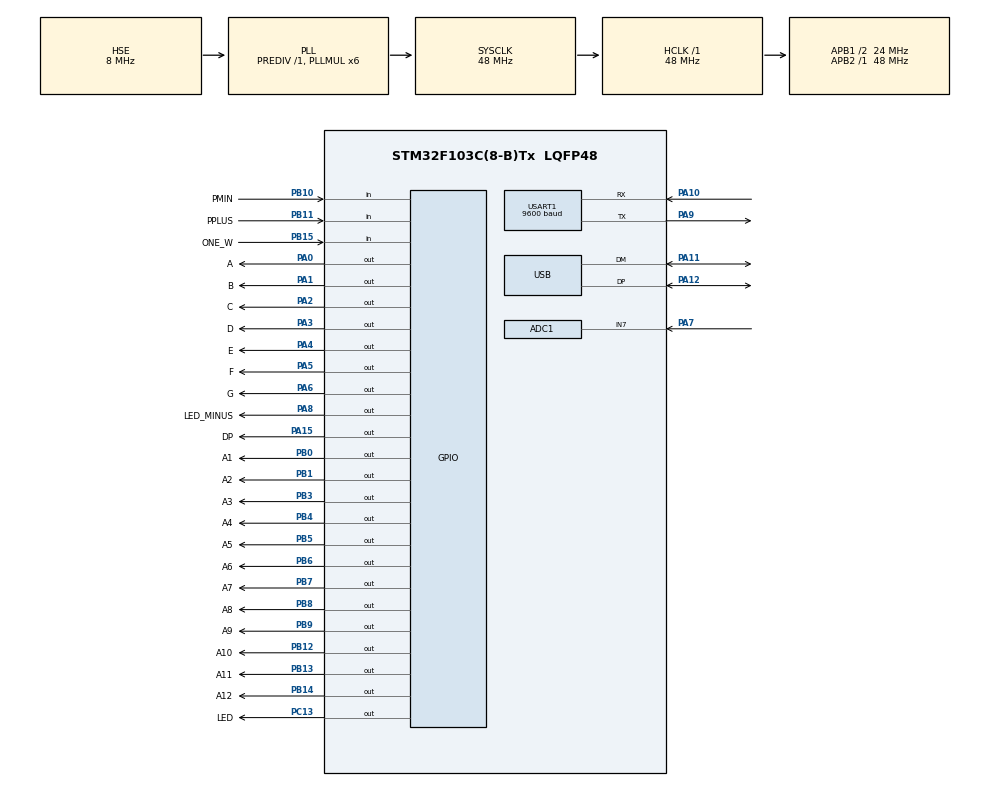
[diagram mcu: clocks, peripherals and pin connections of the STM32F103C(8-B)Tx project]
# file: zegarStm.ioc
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ADC1.Channel-4\#ChannelRegularConversion=ADC_CHANNEL_7
ADC1.ContinuousConvMode=DISABLE
ADC1.InjNumberOfConversion=0
ADC1.NbrOfConversion=1
ADC1.NbrOfConversionFlag=1
ADC1.Rank-4\#ChannelRegularConversion=1
ADC1.SamplingTime-4\#ChannelRegularConversion=ADC_SAMPLETIME_1CYCLE_5
ADC1.master=1
Dma.Request0=USART1_RX
Dma.Request1=USART1_TX
Dma.USART1_RX.0.Direction=DMA_PERIPH_TO_MEMORY
Dma.USART1_RX.0.Instance=DMA1_Channel5
Dma.USART1_RX.0.MemDataAlignment=DMA_MDATAALIGN_BYTE
Dma.USART1_RX.0.MemInc=DMA_MINC_ENABLE
Dma.USART1_RX.0.Mode=DMA_CIRCULAR
Dma.USART1_RX.0.PeriphDataAlignment=DMA_PDATAALIGN_BYTE
Dma.USART1_RX.0.PeriphInc=DMA_PINC_DISABLE
Dma.USART1_RX.0.Priority=DMA_PRIORITY_LOW
Dma.USART1_TX.1.Direction=DMA_MEMORY_TO_PERIPH
Dma.USART1_TX.1.Instance=DMA1_Channel4
Dma.USART1_TX.1.MemDataAlignment=DMA_MDATAALIGN_BYTE
Dma.USART1_TX.1.MemInc=DMA_MINC_ENABLE
Dma.USART1_TX.1.Mode=DMA_NORMAL
Dma.USART1_TX.1.PeriphDataAlignment=DMA_PDATAALIGN_BYTE
Dma.USART1_TX.1.PeriphInc=DMA_PINC_DISABLE
Dma.USART1_TX.1.Priority=DMA_PRIORITY_LOW
FREERTOS.INCLUDE_vTaskDelayUntil=1
FREERTOS.Tasks01=defaultTask,0,128,StartDefaultTask,Default
FREERTOS.configTOTAL_HEAP_SIZE=6144
FREERTOS.configUSE_IDLE_HOOK=1
Mcu.Family=STM32F1
Mcu.Name=STM32F103C(8-B)Tx
Mcu.Package=LQFP48
NVIC.ADC1_2_IRQn=true\:0\:0\:false\:false\:true\:false
NVIC.DMA1_Channel4_IRQn=true\:5\:0\:false\:false\:true\:true
NVIC.DMA1_Channel5_IRQn=true\:5\:0\:false\:false\:true\:true
NVIC.PriorityGroup=NVIC_PRIORITYGROUP_4
NVIC.TIM1_UP_IRQn=true\:0\:0\:false\:false\:true\:false
NVIC.TIM2_IRQn=true\:5\:0\:false\:false\:true\:true
NVIC.TIM3_IRQn=true\:0\:0\:false\:false\:true\:false
NVIC.TIM4_IRQn=true\:5\:0\:false\:false\:true\:true
NVIC.TimeBase=TIM1_UP_IRQn
NVIC.TimeBaseIP=TIM1
NVIC.USART1_IRQn=true\:5\:0\:false\:false\:true\:true
NVIC.USB_LP_CAN1_RX0_IRQn=true\:5\:0\:false\:false\:true\:true
PA0-WKUP.GPIO_Label=A
PA0-WKUP.GPIO_ModeDefaultOutputPP=GPIO_MODE_OUTPUT_PP
PA0-WKUP.GPIO_Speed=GPIO_SPEED_FREQ_HIGH
PA0-WKUP.Signal=GPIO_Output
PA1.GPIO_Label=B
PA1.GPIO_Speed=GPIO_SPEED_FREQ_HIGH
PA1.Signal=GPIO_Output
PA10.Mode=Asynchronous
PA10.Signal=USART1_RX
PA11.Mode=Device
PA11.Signal=USB_DM
PA12.Mode=Device
PA12.Signal=USB_DP
PA13.Mode=Serial_Wire
PA13.Signal=SYS_JTMS-SWDIO
PA14.Mode=Serial_Wire
PA14.Signal=SYS_JTCK-SWCLK
PA15.GPIO_Label=DP
PA15.GPIO_Speed=GPIO_SPEED_FREQ_HIGH
PA15.Signal=GPIO_Output
PA2.GPIO_Label=C
PA2.GPIO_Speed=GPIO_SPEED_FREQ_HIGH
PA2.Signal=GPIO_Output
PA3.GPIO_Label=D
PA3.GPIO_Speed=GPIO_SPEED_FREQ_HIGH
PA3.Signal=GPIO_Output
PA4.GPIO_Label=E
PA4.GPIO_Speed=GPIO_SPEED_FREQ_HIGH
PA4.Signal=GPIO_Output
PA5.GPIO_Label=F
PA5.GPIO_Speed=GPIO_SPEED_FREQ_HIGH
PA5.Signal=GPIO_Output
PA6.GPIO_Label=G
PA6.GPIO_Speed=GPIO_SPEED_FREQ_HIGH
PA6.Signal=GPIO_Output
PA7.Signal=ADCx_IN7
PA8.GPIO_Label=LED_MINUS
PA8.GPIO_Speed=GPIO_SPEED_FREQ_LOW
PA8.Signal=GPIO_Output
PA9.Mode=Asynchronous
PA9.Signal=USART1_TX
PB0.GPIO_Label=A1
PB0.GPIO_Speed=GPIO_SPEED_FREQ_HIGH
PB0.Signal=GPIO_Output
PB1.GPIO_Label=A2
PB1.GPIO_Speed=GPIO_SPEED_FREQ_HIGH
PB1.Signal=GPIO_Output
PB10.GPIO_Label=PMIN
PB10.GPIO_PuPd=GPIO_PULLUP
PB10.Signal=GPIO_Input
PB11.GPIO_Label=PPLUS
PB11.GPIO_PuPd=GPIO_PULLUP
PB11.Signal=GPIO_Input
PB12.GPIO_Label=A10
PB12.GPIO_Speed=GPIO_SPEED_FREQ_HIGH
PB12.Signal=GPIO_Output
PB13.GPIO_Label=A11
PB13.GPIO_Speed=GPIO_SPEED_FREQ_HIGH
PB13.Signal=GPIO_Output
PB14.GPIO_Label=A12
PB14.Signal=GPIO_Output
PB15.GPIO_Label=ONE_W
PB15.Signal=GPIO_Input
PB3.GPIO_Label=A3
PB3.GPIO_Speed=GPIO_SPEED_FREQ_HIGH
PB3.Signal=GPIO_Output
PB4.GPIO_Label=A4
PB4.GPIO_Speed=GPIO_SPEED_FREQ_HIGH
PB4.Signal=GPIO_Output
PB5.GPIO_Label=A5
PB5.GPIO_Speed=GPIO_SPEED_FREQ_HIGH
PB5.Signal=GPIO_Output
PB6.GPIO_Label=A6
PB6.GPIO_Speed=GPIO_SPEED_FREQ_HIGH
PB6.Signal=GPIO_Output
PB7.GPIO_Label=A7
PB7.GPIO_Speed=GPIO_SPEED_FREQ_HIGH
PB7.Signal=GPIO_Output
PB8.GPIO_Label=A8
PB8.GPIO_Speed=GPIO_SPEED_FREQ_HIGH
PB8.Signal=GPIO_Output
PB9.GPIO_Label=A9
PB9.GPIO_Speed=GPIO_SPEED_FREQ_HIGH
PB9.Signal=GPIO_Output
PC13-TAMPER-RTC.GPIO_Label=LED
PC13-TAMPER-RTC.PinState=GPIO_PIN_SET
PC13-TAMPER-RTC.Signal=GPIO_Output
PC14-OSC32_IN.Mode=LSE-External-Oscillator
PC14-OSC32_IN.Signal=RCC_OSC32_IN
PC15-OSC32_OUT.Mode=LSE-External-Oscillator
PC15-OSC32_OUT.Signal=RCC_OSC32_OUT
PD0-OSC_IN.Mode=HSE-External-Oscillator
PD0-OSC_IN.Signal=RCC_OSC_IN
PD1-OSC_OUT.Mode=HSE-External-Oscillator
PD1-OSC_OUT.Signal=RCC_OSC_OUT
ProjectManager.HeapSize=0x200
ProjectManager.StackSize=0x400
ProjectManager.TargetToolchain=SW4STM32
RCC.ADCPresc=RCC_ADCPCLK2_DIV4
RCC.AHBFreq_Value=48000000
RCC.APB1CLKDivider=RCC_HCLK_DIV2
RCC.APB1Freq_Value=24000000
RCC.APB1TimFreq_Value=48000000
RCC.APB2Freq_Value=48000000
RCC.APB2TimFreq_Value=48000000
RCC.HCLKFreq_Value=48000000
RCC.HSIState=RCC_HSI_ON
RCC.PLLMUL=RCC_PLL_MUL6
RCC.PLLSourceVirtual=RCC_PLLSOURCE_HSE
RCC.RTCClockSelection=RCC_RTCCLKSOURCE_LSE
RCC.SYSCLKFreq_VALUE=48000000
RCC.SYSCLKSource=RCC_SYSCLKSOURCE_PLLCLK
RCC.USBFreq_Value=48000000
RCC.VDD_VALUE=3.3
RTC.Hours=12
RTC.OutPut=RTC_OUTPUTSOURCE_NONE
RTC.Year=17
SH.ADCx_IN7.0=ADC1_IN7,IN7
TIM2.Period=490
TIM2.Prescaler=48
TIM3.Period=10000
TIM3.Prescaler=48
TIM3.TIM_MasterOutputTrigger=TIM_TRGO_RESET
TIM3.TIM_MasterSlaveMode=TIM_MASTERSLAVEMODE_DISABLE
TIM4.Period=500
TIM4.Prescaler=48
USART1.BaudRate=9600
USART1.Parity=PARITY_NONE
USB_DEVICE.CLASS_NAME_FS=CDC
USB_DEVICE.USBD_HandleTypeDef=hUsbDeviceFS
USB_DEVICE.VirtualMode=Cdc
USB_DEVICE.VirtualModeFS=Cdc_FS
VP_CRC_VS_CRC.Mode=CRC_Activate
VP_FREERTOS_VS_ENABLE.Mode=Enabled
VP_RTC_No_RTC_Output.Mode=RTC_OUT_NO
VP_RTC_VS_RTC_Activate.Mode=RTC_Enabled
VP_SYS_VS_tim1.Mode=TIM1
VP_TIM2_VS_ClockSourceINT.Mode=Internal
VP_TIM3_VS_ClockSourceINT.Mode=Internal
VP_TIM4_VS_ClockSourceINT.Mode=Internal
VP_USB_DEVICE_VS_USB_DEVICE_CDC_FS.Mode=CDC_FS
board=plytka_f103c8t6_ebay

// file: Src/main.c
/**
  ******************************************************************************
  * File Name          : main.c
  * Description        : Main program body
  ******************************************************************************
  *
  * Copyright (c) 2017 STMicroelectronics International N.V.
  * All rights reserved.
  *
  * Redistribution and use in source and binary forms, with or without
  * modification, are permitted, provided that the following conditions are met:
  *
  * 1. Redistribution of source code must retain the above copyright notice,
  *    this list of conditions and the following disclaimer.
  * 2. Redistributions in binary form must reproduce the above copyright notice,
  *    this list of conditions and the following disclaimer in the documentation
  *    and/or other materials provided with the distribution.
  * 3. Neither the name of STMicroelectronics nor the names of other
  *    contributors to this software may be used to endorse or promote products
  *    derived from this software without specific written permission.
  * 4. This software, including modifications and/or derivative works of this
  *    software, must execute solely and exclusively on microcontroller or
  *    microprocessor devices manufactured by or for STMicroelectronics.
  * 5. Redistribution and use of this software other than as permitted under
  *    this license is void and will automatically terminate your rights under
  *    this license.
  *
  * THIS SOFTWARE IS PROVIDED BY STMICROELECTRONICS AND CONTRIBUTORS "AS IS"
  * AND ANY EXPRESS, IMPLIED OR STATUTORY WARRANTIES, INCLUDING, BUT NOT
  * LIMITED TO, THE IMPLIED WARRANTIES OF MERCHANTABILITY, FITNESS FOR A
  * PARTICULAR PURPOSE AND NON-INFRINGEMENT OF THIRD PARTY INTELLECTUAL PROPERTY
  * RIGHTS ARE DISCLAIMED TO THE FULLEST EXTENT PERMITTED BY LAW. IN NO EVENT
  * SHALL STMICROELECTRONICS OR CONTRIBUTORS BE LIABLE FOR ANY DIRECT, INDIRECT,
  * INCIDENTAL, SPECIAL, EXEMPLARY, OR CONSEQUENTIAL DAMAGES (INCLUDING, BUT NOT
  * LIMITED TO, PROCUREMENT OF SUBSTITUTE GOODS OR SERVICES; LOSS OF USE, DATA,
  * OR PROFITS; OR BUSINESS INTERRUPTION) HOWEVER CAUSED AND ON ANY THEORY OF
  * LIABILITY, WHETHER IN CONTRACT, STRICT LIABILITY, OR TORT (INCLUDING
  * NEGLIGENCE OR OTHERWISE) ARISING IN ANY WAY OUT OF THE USE OF THIS SOFTWARE,
  * EVEN IF ADVISED OF THE POSSIBILITY OF SUCH DAMAGE.
  *
  ******************************************************************************
  */
#include "main.h"
#include "stm32f1xx_hal.h"
#include "cmsis_os.h"
#include "adc.h"
#include "crc.h"
#include "dma.h"
#include "rtc.h"
#include "tim.h"
#include "usart.h"
#include "usb_device.h"
#include "gpio.h"

/* USER CODE BEGIN Includes */

#include "FreeRTOS.h"
#include "wyswietlacz7Seg.h"

/* USER CODE END Includes */

/* USER CODE BEGIN PV */

wyswietlacz7Seg  wyswietlaCyfrySet;
volatile uint8_t wyswietlaczIdx;

volatile uint32_t flagaDelay;
volatile uint32_t sciemniacz;

/* USER CODE END PV */

void SystemClock_Config(void);
void Error_Handler(void);
void MX_FREERTOS_Init(void);

int main(void)
{

  /* MCU Configuration----------------------------------------------------------*/

  /* Reset of all peripherals, Initializes the Flash interface and the Systick. */
  HAL_Init();

  /* Configure the system clock */
  SystemClock_Config();

  /* Initialize all configured peripherals */
  MX_GPIO_Init();
  MX_DMA_Init();
  MX_RTC_Init();
  MX_USART1_UART_Init();
  MX_TIM2_Init();
  MX_TIM3_Init();
  MX_TIM4_Init();
  MX_ADC1_Init();
  MX_CRC_Init();

  /* USER CODE BEGIN 2 */
  HAL_TIM_Base_Start_IT(&htim2);
  HAL_TIM_Base_Start_IT(&htim3);
  HAL_TIM_Base_Start_IT(&htim4);
  /* USER CODE END 2 */

  /* Call init function for freertos objects (in freertos.c) */
  MX_FREERTOS_Init();

  /* Start scheduler */
  osKernelStart();

  /* We should never get here as control is now taken by the scheduler */

  /* Infinite loop */
  while (1)
  {

  }

}

/** System Clock Configuration
*/
void SystemClock_Config(void)
{

  RCC_OscInitTypeDef RCC_OscInitStruct;
  RCC_ClkInitTypeDef RCC_ClkInitStruct;
  RCC_PeriphCLKInitTypeDef PeriphClkInit;

    /**Initializes the CPU, AHB and APB busses clocks
    */
  RCC_OscInitStruct.OscillatorType = RCC_OSCILLATORTYPE_HSE|RCC_OSCILLATORTYPE_LSE;
  RCC_OscInitStruct.HSEState = RCC_HSE_ON;
  RCC_OscInitStruct.HSEPredivValue = RCC_HSE_PREDIV_DIV1;
  RCC_OscInitStruct.LSEState = RCC_LSE_ON;
  RCC_OscInitStruct.HSIState = RCC_HSI_ON;
  RCC_OscInitStruct.PLL.PLLState = RCC_PLL_ON;
  RCC_OscInitStruct.PLL.PLLSource = RCC_PLLSOURCE_HSE;
  RCC_OscInitStruct.PLL.PLLMUL = RCC_PLL_MUL6;
  if (HAL_RCC_OscConfig(&RCC_OscInitStruct) != HAL_OK)
  {
    Error_Handler();
  }

    /**Initializes the CPU, AHB and APB busses clocks
    */
  RCC_ClkInitStruct.ClockType = RCC_CLOCKTYPE_HCLK|RCC_CLOCKTYPE_SYSCLK
                              |RCC_CLOCKTYPE_PCLK1|RCC_CLOCKTYPE_PCLK2;
  RCC_ClkInitStruct.SYSCLKSource = RCC_SYSCLKSOURCE_PLLCLK;
  RCC_ClkInitStruct.AHBCLKDivider = RCC_SYSCLK_DIV1;
  RCC_ClkInitStruct.APB1CLKDivider = RCC_HCLK_DIV2;
  RCC_ClkInitStruct.APB2CLKDivider = RCC_HCLK_DIV1;

  if (HAL_RCC_ClockConfig(&RCC_ClkInitStruct, FLASH_LATENCY_1) != HAL_OK)
  {
    Error_Handler();
  }

  PeriphClkInit.PeriphClockSelection = RCC_PERIPHCLK_RTC|RCC_PERIPHCLK_ADC
                              |RCC_PERIPHCLK_USB;
  PeriphClkInit.RTCClockSelection = RCC_RTCCLKSOURCE_LSE;
  PeriphClkInit.AdcClockSelection = RCC_ADCPCLK2_DIV4;
  PeriphClkInit.UsbClockSelection = RCC_USBCLKSOURCE_PLL;
  if (HAL_RCCEx_PeriphCLKConfig(&PeriphClkInit) != HAL_OK)
  {
    Error_Handler();
  }

    /**Configure the Systick interrupt time
    */
  HAL_SYSTICK_Config(HAL_RCC_GetHCLKFreq()/1000);

    /**Configure the Systick
    */
  HAL_SYSTICK_CLKSourceConfig(SYSTICK_CLKSOURCE_HCLK);

  /* SysTick_IRQn interrupt configuration */
  HAL_NVIC_SetPriority(SysTick_IRQn, 15, 0);
}

void HAL_TIM_PeriodElapsedCallback(TIM_HandleTypeDef *htim)
{
  if (htim->Instance == TIM1) {
    HAL_IncTick();
  }
/* USER CODE BEGIN Callback 1 */
  if (htim->Instance == TIM3) {
	  flagaKoncaRxt = 1;
      if (flagaDelay >0) {
    	  --flagaDelay;
      }
  }

  if (htim->Instance == TIM4) {
	  __HAL_TIM_SET_COUNTER(&htim2, 0);
	   uint32_t sciemTmp;

	   if(wyswietlaczIdx <5 ){
		   sciemTmp = sciemniacz* 4;
	   }else{
		   sciemTmp = 0;
		   if(sciemniacz>50) sciemTmp = 80;
	   }

	   wyswietlaczIdx = wyswietl7Seg( &wyswietlaCyfrySet);

	   __HAL_TIM_SET_COUNTER(&htim2, sciemTmp);
	   __HAL_TIM_SET_COUNTER(&htim4, 0);
  }

  if (htim->Instance == TIM2) {
	  HAL_GPIO_WritePin(A1_GPIO_Port, maskaAnod, GPIO_PIN_RESET);
	  HAL_GPIO_WritePin(A_GPIO_Port, maskaSeg, GPIO_PIN_RESET);
  }

/* USER CODE END Callback 1 */
}

void Error_Handler(void)
{
  /* USER CODE BEGIN Error_Handler */
  /* User can add his own implementation to report the HAL error return state */
  while(1)
  {
	  break;
  }
  /* USER CODE END Error_Handler */
}

/************************ (C) COPYRIGHT STMicroelectronics *****END OF FILE****/

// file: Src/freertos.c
/**
  ******************************************************************************
  * File Name          : freertos.c
  * Description        : Code for freertos applications
  ******************************************************************************
  *
  * Copyright (c) 2017 STMicroelectronics International N.V.
  * All rights reserved.
  *
  * Redistribution and use in source and binary forms, with or without
  * modification, are permitted, provided that the following conditions are met:
  *
  * 1. Redistribution of source code must retain the above copyright notice,
  *    this list of conditions and the following disclaimer.
  * 2. Redistributions in binary form must reproduce the above copyright notice,
  *    this list of conditions and the following disclaimer in the documentation
  *    and/or other materials provided with the distribution.
  * 3. Neither the name of STMicroelectronics nor the names of other
  *    contributors to this software may be used to endorse or promote products
  *    derived from this software without specific written permission.
  * 4. This software, including modifications and/or derivative works of this
  *    software, must execute solely and exclusively on microcontroller or
  *    microprocessor devices manufactured by or for STMicroelectronics.
  * 5. Redistribution and use of this software other than as permitted under
  *    this license is void and will automatically terminate your rights under
  *    this license.
  *
  * THIS SOFTWARE IS PROVIDED BY STMICROELECTRONICS AND CONTRIBUTORS "AS IS"
  * AND ANY EXPRESS, IMPLIED OR STATUTORY WARRANTIES, INCLUDING, BUT NOT
  * LIMITED TO, THE IMPLIED WARRANTIES OF MERCHANTABILITY, FITNESS FOR A
  * PARTICULAR PURPOSE AND NON-INFRINGEMENT OF THIRD PARTY INTELLECTUAL PROPERTY
  * RIGHTS ARE DISCLAIMED TO THE FULLEST EXTENT PERMITTED BY LAW. IN NO EVENT
  * SHALL STMICROELECTRONICS OR CONTRIBUTORS BE LIABLE FOR ANY DIRECT, INDIRECT,
  * INCIDENTAL, SPECIAL, EXEMPLARY, OR CONSEQUENTIAL DAMAGES (INCLUDING, BUT NOT
  * LIMITED TO, PROCUREMENT OF SUBSTITUTE GOODS OR SERVICES; LOSS OF USE, DATA,
  * OR PROFITS; OR BUSINESS INTERRUPTION) HOWEVER CAUSED AND ON ANY THEORY OF
  * LIABILITY, WHETHER IN CONTRACT, STRICT LIABILITY, OR TORT (INCLUDING
  * NEGLIGENCE OR OTHERWISE) ARISING IN ANY WAY OUT OF THE USE OF THIS SOFTWARE,
  * EVEN IF ADVISED OF THE POSSIBILITY OF SUCH DAMAGE.
  *
  ******************************************************************************
  */

#include "FreeRTOS.h"
#include "task.h"
#include "cmsis_os.h"

/* USER CODE BEGIN Includes */

#include "gpio.h"
#include "usb_device.h"
#include "usart.h"
#include "string.h"
#include "tim.h"
#include "rtc.h"
#include <string.h>
#include "oneWire.h"
#include "adc.h"
#include "wyswietlacz7Seg.h"
#include "eeprom.h"
#include "crc.h"

/* USER CODE END Includes */

osThreadId defaultTaskHandle;

/* USER CODE BEGIN Variables */

uint16_t VirtAddVarTab[NB_OF_VAR] = {0x5555, 0x6666, 0x7777};
uint16_t eepromVarDataTab[NB_OF_VAR] = {0, 0, 0};
uint16_t eeIloscOdpalen;

osThreadId blueTaskHandle;
osThreadId co1sekundeTaskHandle;
osSemaphoreId blueBinarySemHandle;

//wyswietlacz

uint32_t crcbuff[1];
extern wyswietlacz7Seg wyswietlaCyfrySet;

volatile uint8_t cyfra_1, cyfra_2, cyfra_3, cyfra_4, cyfra_5, cyfra_6, cyfra_7, cyfra_8, cyfra_9, cyfra_10, cyfra_11, cyfra_12;
volatile uint8_t kropka_1, kropka_2, kropka_3, kropka_4, kropka_5, kropka_6, kropka_7, kropka_8, kropka_9, kropka_10, kropka_11, kropka_12;

uint8_t rtcTimer1Sec, czujniki_cnt;

volatile uint32_t ADCread, ADCpoziom[3]={900,1500,2300};

uint8_t temp1, temp2, dsBuff[9], temperaturaDs[3];
uint16_t DS_tmp;

osThreadId taskLed7SegHandle;

RTC_TimeTypeDef getTime;
RTC_DateTypeDef getDate;

RTC_TimeTypeDef setTime;
RTC_DateTypeDef setDate;

uint8_t blueRxFrame[256], blueTxFrame[256], Rx_data[256], Rx_indx;
volatile uint8_t txDone = 0;
 uint8_t sekundy, minuty, godziny;

uint32_t sciemniacz = 0;  //80noc 50 srednio 0 reszta

/* USER CODE END Variables */

void StartDefaultTask(void const * argument);

extern void MX_USB_DEVICE_Init(void);
void MX_FREERTOS_Init(void); /* (MISRA C 2004 rule 8.1) */

/* USER CODE BEGIN FunctionPrototypes */

void taskLed7Seg(void const * argument);
void taskBlue(void const * argument);
void co1SekundeTask(void const * argument);

uint8_t rtcSetTime(RTC_HandleTypeDef *hrtc, RTC_TimeTypeDef* time);
uint8_t rtcGetTime(RTC_HandleTypeDef *hrtc, RTC_TimeTypeDef* time);

void displayPrzeliczCzas(void);
void przyciskiRtc(void);

void eepromStart(void);
void eepromWrite(uint16_t adr, uint16_t value);
void eepromRead(uint16_t adr, uint16_t* value);

/* USER CODE END FunctionPrototypes */

/* Hook prototypes */
void vApplicationIdleHook(void);

/* USER CODE BEGIN 2 */
void vApplicationIdleHook( void ){

	if(blueRxFrame[0] == 0){
		flagaKoncaRxt = 0;
		Rx_indx = 0;
		__HAL_TIM_SET_COUNTER(&htim3, 0); //reset timera 1,5T
	}else if (flagaKoncaRxt == 1){
		flagaKoncaRxt = 0;
		osSemaphoreRelease(blueBinarySemHandle);
	}

}
/* USER CODE END 2 */

/* Init FreeRTOS */

void MX_FREERTOS_Init(void) {
  /* USER CODE BEGIN Init */

	eepromStart();
	HAL_UART_Receive_DMA(&huart1, Rx_data, 1);
  /* USER CODE END Init */

  /* USER CODE BEGIN RTOS_SEMAPHORES */

	  osSemaphoreDef(blueBinarySem);
	  blueBinarySemHandle = osSemaphoreCreate(osSemaphore(blueBinarySem), 1);

  /* USER CODE END RTOS_SEMAPHORES */

  /* Create the thread(s) */
  /* definition and creation of defaultTask */
  osThreadDef(defaultTask, StartDefaultTask, osPriorityNormal, 0, 128);
  defaultTaskHandle = osThreadCreate(osThread(defaultTask), NULL);

  /* USER CODE BEGIN RTOS_THREADS */
  osThreadDef(TaskLed7Seg, taskLed7Seg, osPriorityNormal, 0, 128);
  taskLed7SegHandle = osThreadCreate(osThread(TaskLed7Seg), NULL);

  osThreadDef(Taskblue, taskBlue, osPriorityNormal, 0, 256);
  blueTaskHandle = osThreadCreate(osThread(Taskblue), NULL);

  osThreadDef(TaskCo1Sekunde, co1SekundeTask, osPriorityNormal, 0, 128);
  co1sekundeTaskHandle = osThreadCreate(osThread(TaskCo1Sekunde), NULL);

  /* USER CODE END RTOS_THREADS */

}

/* StartDefaultTask function */
void StartDefaultTask(void const * argument)
{
  /* init code for USB_DEVICE */
  MX_USB_DEVICE_Init();

  /* USER CODE BEGIN StartDefaultTask */
  for(;;)  {
	  przyciskiRtc();
  }
  /* USER CODE END StartDefaultTask */
}

/* USER CODE BEGIN Application */
void co1SekundeTask(void const * argument){
	uint32_t PreviousWakeTime = osKernelSysTick();

	for(;;){
		HAL_ADC_Start_IT(&hadc1); //ADC

		kropka_4^=1;

		if(rtcTimer1Sec) --rtcTimer1Sec;

		osDelayUntil(&PreviousWakeTime, 1000);
	}
}

void taskLed7Seg(void const * argument){
	uint32_t PreviousWakeTime = osKernelSysTick();

	uint32_t  konewrt=0, DSerror=0;
	uint8_t  temperaturaLast=0, licznikErr=0, odczyt = 0;
	uint16_t tempSrednia = 0, tempsredniaTab[5] = {0,0,0,0,0}, indeksSredni=0;

	for(;;){

		//**************************************************************************************** CZAS GET
		rtcGetTime(&hrtc, & getTime);
		if (HAL_RTC_GetDate(&hrtc, & getDate, RTC_FORMAT_BIN) != HAL_OK)
		  {
		    Error_Handler();
		  }
		godziny = getTime.Hours;
		minuty = getTime.Minutes;
		sekundy = getTime.Seconds;
		//**************************************************************************************** END

		if( 0 == (sekundy%3) ) {
			czujniki_cnt = search_sensors();
		}
		if( 1 == (sekundy%3) ){
			DS18X20_start_meas( DS18X20_POWER_EXTERN, NULL );
		}
		if( 2 == (sekundy%3) ) {
			if( DS18X20_OK == DS18X20_read_meas(gSensorIDs[0], &temperaturaDs[0], &temperaturaDs[1], &temperaturaDs[2] )){
				odczyt = 1;
			}
		}

//		temperaturaDs[0] = 1;
//		temperaturaDs[1] = 52;
//		temperaturaDs[2] = 1;

		cyfra_5 = sekundy/10;
		cyfra_6 = sekundy%10;
		kropka_6 = 1;

		cyfra_7 = getDate.Year / 10;
		cyfra_8 = getDate.Year % 10;

		cyfra_7 = (DSerror%100) /10;
		cyfra_8 = (DSerror%100) % 10;

		cyfra_7 = (eeIloscOdpalen % 100) / 10;
		cyfra_8 = (eeIloscOdpalen % 100) % 10;

//		if(eeIloscOdpalen > 10){
//			eeIloscOdpalen = 0;
//			eepromWrite(VirtAddVarTab[0], eeIloscOdpalen);
//		}

		if (  (( temperaturaDs[1] > temperaturaLast && (temperaturaDs[1] - temperaturaLast) > 1) || ( temperaturaDs[1] > temperaturaLast && (temperaturaLast - temperaturaDs[1]) > 1) ) && (licznikErr < 5) && odczyt == 1 && konewrt ) {
			odczyt = 0;
			++licznikErr;
			kropka_12 = 1;
			++DSerror;

		} else if (odczyt == 1) {
			konewrt = 1;
			odczyt = 0;
			licznikErr = 0;

			kropka_9 = 0;
			kropka_10 = 0;
			kropka_11 = 0;
			kropka_12 = 0;
			temperaturaLast = temperaturaDs[1];

			if(indeksSredni > 4)indeksSredni = 0;
			tempsredniaTab[indeksSredni++] = temperaturaDs[1] * 10 + temperaturaDs[2];

			tempSrednia = 0;
			uint8_t ii;
			for(ii = 0; ii < 5; ++ii){
				tempSrednia += tempsredniaTab[ii];
			}
			tempSrednia/=5;

			if ((temperaturaDs[0]) && (tempSrednia  != 0)) { //minus
				cyfra_9 = MINUS;
				HAL_GPIO_WritePin(LED_MINUS_GPIO_Port, LED_MINUS_Pin,
						GPIO_PIN_SET);

				//bez znaku stopni
				if (tempSrednia > 99) {
					cyfra_10 = tempSrednia / 100;
					cyfra_11 = (tempSrednia / 10) % 10;
					kropka_11 = 1;
					cyfra_12 = tempSrednia % 10;
				} else {
					cyfra_10 = tempSrednia / 10;
					kropka_10 = 1;
					cyfra_11 = tempSrednia % 10;
					cyfra_12 = 12;
				}
				//PLUS
			} else {
				HAL_GPIO_WritePin(LED_MINUS_GPIO_Port, LED_MINUS_Pin,
						GPIO_PIN_RESET);
				cyfra_9 = tempSrednia / 100;
				if (cyfra_9 == 0) {
					cyfra_9 = 10;
					cyfra_10 = tempSrednia / 10;
				} else {
					cyfra_10 = (tempSrednia / 10) % 10;
				}
				kropka_10 = 1;
				cyfra_11 = tempSrednia % 10;
				cyfra_12 = 12;
			}
		}

		displayPrzeliczCzas();
		osDelayUntil(&PreviousWakeTime, 1000);
	}
}

void taskBlue(void const * argument){

	uint8_t buffTmp[256], lenth=0;
	uint8_t tmp2[10];
	uint8_t tmpBuff[10];
	  for(;;) {

		  osSemaphoreWait(blueBinarySemHandle, osWaitForever);

		  Rx_indx = 0;
		  uint8_t i = 0;
		  for ( i = 0;  i < 255; ++ i) {
			  buffTmp[i] = blueRxFrame[i];
			  blueRxFrame[i] = 0;
		  }
		  for ( i = 0;  i < 255; ++ i) {
			  blueTxFrame[i] = 0;
		  }

		  if( (buffTmp[0]=='a') && (buffTmp[1]=='t') && (buffTmp[2]=='+')   ){
			  //komenda at+
			  //odczyt t
			  if( (buffTmp[3]=='t') && (buffTmp[4]!='=')  ){

				  if(txDone == 0){
					  strcpy( (char*) blueTxFrame, "Czas w zegarze ISO 8601: " );

					  if(getDate.Year < 10){
						  strcat((char*) blueTxFrame, "200" );
					  }else{
						  strcat( (char*) blueTxFrame, "20" );
					  }
					  itoa(getDate.Year , (char*) tmp2,10);
					  strcat( (char*) blueTxFrame, (char*) tmp2 );

					  if(getDate.Month < 10){
						  strcat( (char*) blueTxFrame, "-0" );
					  }else{
						  strcat((char*) blueTxFrame, "-" );
					  }
					  itoa(getDate.Month , (char*) tmp2,10);
					  strcat( (char*) blueTxFrame, (char*) tmp2 );

					  if(getDate.Date < 10){
						  strcat( (char*) blueTxFrame, "-0" );
					  }else{
						  strcat( (char*) blueTxFrame, "-" );
					  }
					  itoa(getDate.Date , (char*)tmp2,10);
					  strcat( (char*) blueTxFrame, (char*) tmp2 );

					  if(getTime.Hours < 10){
						  strcat( (char*) blueTxFrame, "T0" );
					  }else{
						  strcat( (char*) blueTxFrame, "T" );
					  }
					  itoa(godziny, (char*) tmp2,10);
					  strcat((char*)  blueTxFrame, (char*) tmp2 );

					  if(getTime.Minutes < 10){
						  strcat( (char*) blueTxFrame, ":0" );
					  }else{
						  strcat( (char*) blueTxFrame, ":" );
					  }
					  itoa(minuty, (char*) tmp2,10);
					  strcat( (char*) blueTxFrame, (char*) tmp2 );

					  if(getTime.Seconds < 10){
						  strcat( (char*) blueTxFrame, ":0" );
					  }else{
						  strcat( (char*) blueTxFrame, ":" );
					  }
					  itoa(sekundy, (char*) tmp2,10);
					  strcat( (char*) blueTxFrame, (char*) tmp2 );

					  strcat( (char*)blueTxFrame, "+01:00\n" );

					  lenth = strlen( (char*) blueTxFrame) ;
					  if (lenth >0) {
						  txDone = 1;
						  HAL_UART_Transmit_DMA(&huart1, blueTxFrame , lenth);
					  }
				  }
			  }

			  if( (buffTmp[3]=='t') && (buffTmp[4]== '=')  ){

				  if( (buffTmp[7]==':') && (buffTmp[10]== ':') ){

				  tmpBuff[0] = buffTmp[5];
				  tmpBuff[1] = buffTmp[6];
				  setTime.Hours =  atoi( (char*) tmpBuff);

				  tmpBuff[0] = buffTmp[8];
				  tmpBuff[1] = buffTmp[9];
				  setTime.Minutes =  atoi( (char*) tmpBuff);

				  tmpBuff[0] = buffTmp[11];
				  tmpBuff[1] = buffTmp[12];
				  setTime.Seconds =  atoi( (char*) tmpBuff);

				  if (HAL_RTC_SetTime(&hrtc, &setTime, RTC_FORMAT_BIN) != HAL_OK)
				  {
				    Error_Handler();
				  }

				  txDone = 1;
				  uint8_t error[] = "OK\n";
				  HAL_UART_Transmit_DMA(&huart1, error , strlen((char*) error) );

				  }else{
					  if(txDone == 0){
						  txDone = 1;
						  uint8_t error[] = "Podaj poprawne dane np. \"at+t=22:01:55\"\n";
						  HAL_UART_Transmit_DMA(&huart1, error , strlen((char*) error) );
					  }
				  }
			  }
			  if( (buffTmp[3]=='d') && (buffTmp[4]== '=')  ){

				  if( (buffTmp[9]=='-') && (buffTmp[12]== '-') ){

				  tmpBuff[0] = buffTmp[7];
				  tmpBuff[1] = buffTmp[8];
				  setDate.Year =  atoi( (char*) tmpBuff);

				  tmpBuff[0] = buffTmp[10];
				  tmpBuff[1] = buffTmp[11];
				  setDate.Month =  atoi( (char*) tmpBuff);

				  tmpBuff[0] = buffTmp[13];
				  tmpBuff[1] = buffTmp[14];
				  setDate.Date =  atoi( (char*) tmpBuff);

				  if (HAL_RTC_SetDate(&hrtc, &setDate, RTC_FORMAT_BIN) != HAL_OK)
				  {
				    Error_Handler();
				  }

				  txDone = 1;
				  uint8_t error[] = "OK\n";
				  HAL_UART_Transmit_DMA(&huart1, error , strlen((char*) error) );

				  }else{

					  if(txDone == 0){
						  txDone = 1;
						  uint8_t error[] = "Podaj poprawne dane np. \"at+d=2016-12-31\"\n";
						  HAL_UART_Transmit_DMA(&huart1, error , strlen((char*) error) );
					  }

				  }
			  }

			  if( (buffTmp[3]=='s') && (buffTmp[4]== '=')  ){
				tmpBuff[0] = buffTmp[5];
				tmpBuff[1] = buffTmp[6];
				sciemniacz = atoi((char*) tmpBuff);

				txDone = 1;
				uint8_t error[] = "OK\n";
				HAL_UART_Transmit_DMA(&huart1, error , strlen((char*) error) );
			  }

			  if( (buffTmp[3]=='a') && (buffTmp[4]!= '=')  ){
				if (txDone == 0) {
					strcpy( (char*) blueTxFrame, "Odczyt ADC = ");
					itoa(ADCread, (char*) tmp2, 10);
					strcat( (char*) blueTxFrame, (char*) tmp2);
					strcat((char*) blueTxFrame, "\n");
					lenth = strlen((char*) blueTxFrame);
					if (lenth > 0) {
						txDone = 1;
						HAL_UART_Transmit_DMA(&huart1, blueTxFrame, lenth);
					}
				}
			  }

		  }else{
			  if(txDone == 0){
				  txDone = 1;
				  uint8_t error[] = "Podaj poprawne dane np. \"at+t\",\"at+t=22:01:55\", \"at+d=2016-12-30\" \n";
				  HAL_UART_Transmit_DMA(&huart1, error , strlen((char*) error) );
			  }
		  }
	  }
}

void HAL_ADC_ConvCpltCallback(ADC_HandleTypeDef* hadc){

	static uint32_t ADCsrednieTab[5], ADCsrednie;
	static uint8_t i, stan;
	uint8_t tmp2[10], lenth;

	if (hadc->Instance == ADC1) {

		crcWynik = 0;
		crcbuff[0] = 1;
		crcbuff[0] = __REV(  crcbuff[0]);
		uint32_t lenB = 1;
		crcWynik = HAL_CRC_Calculate(&hcrc, (uint32_t *) crcbuff, lenB);
		crcWynik =( __REV( crcWynik) )^ 0xFFFFFFFF;

		ADCread = HAL_ADC_GetValue(hadc);
		HAL_ADC_Stop_IT(hadc);

		if(i>4)i=0;
		ADCsrednieTab[i++] = ADCread;
		uint8_t j;
		ADCsrednie = 0;
		for (j = 0; j < 5; ++j) {
			ADCsrednie+= ADCsrednieTab[j];
		}
		ADCsrednie/=5;

		switch (stan) {
			case 0: //max
				sciemniacz = 0;

				if (ADCsrednie < ADCpoziom[2]) {
					stan = 1;
				}

				break;
			case 1: //srednio
				sciemniacz = 30;

				if (ADCsrednie < ADCpoziom[1]) {
					stan = 2;
				}else if (ADCsrednie > ADCpoziom[2] + 400)
					stan = 0;
				break;
			case 2: //ciemno
				sciemniacz = 50;

				if (ADCsrednie < ADCpoziom[0]) {
					stan = 3;
				}else if (ADCsrednie > ADCpoziom[1] + 400)
					stan = 1;
				break;
			case 3: //nic
				sciemniacz = 80;
				if (ADCsrednie > ADCpoziom[0] + 400)
					stan = 2;
				break;

			default:
				stan = 0;
				break;
		}

		strcpy( (char*) blueTxFrame, "Odczyt ADC = ");
		itoa(  ADCread, (char*) tmp2, 10);
		strcat( (char*) blueTxFrame, (char*) tmp2);
		strcat( (char*) blueTxFrame, " ADC srednie = ");
		itoa(ADCsrednie, (char*) tmp2, 10);
		strcat((char*) blueTxFrame, (char*) tmp2);
		strcat((char*) blueTxFrame, " sciemniacz = ");
		itoa(sciemniacz, (char*) tmp2, 10);
		strcat((char*) blueTxFrame, (char*) tmp2);
		strcat((char*) blueTxFrame, " PowerUp  = ");
		itoa(eeIloscOdpalen, (char*) tmp2, 10);
		strcat((char*) blueTxFrame, (char*) tmp2);
		strcat((char*) blueTxFrame, "\n");

		lenth = strlen((char*) blueTxFrame);
		if (lenth > 0) {
			txDone = 1;
			HAL_UART_Transmit_DMA(&huart1, blueTxFrame, lenth);
		}
	}
}

void HAL_UART_RxCpltCallback(UART_HandleTypeDef *huart)
{

	if (huart->Instance == USART1) {
		txDone = 0;

		__HAL_TIM_SET_COUNTER(&htim3, 0); //reset timera 3
		HAL_UART_DMAPause(huart);
		__HAL_UART_FLUSH_DRREGISTER(huart);

		blueRxFrame[Rx_indx++] = Rx_data[0];

		if ( Rx_indx > 255 ){
			Rx_indx = 0;
		}

		HAL_UART_DMAResume(huart);
	}
}

void HAL_UART_TxCpltCallback(UART_HandleTypeDef *huart)
{
	txDone = 0;
}

void HAL_UART_ErrorCallback(UART_HandleTypeDef *huart)
{
	txDone = 0;

	  __HAL_UART_CLEAR_OREFLAG(huart);
	  __HAL_UART_CLEAR_NEFLAG(huart);
	  __HAL_UART_CLEAR_FEFLAG(huart);
	  __HAL_UART_CLEAR_PEFLAG(huart);

	 if(huart->Instance == USART1)
	  {
		 __HAL_UART_FLUSH_DRREGISTER(&huart1);
		 HAL_UART_Receive_DMA(&huart1, Rx_data, 1);
	  }
}

uint8_t rtcSetTime(RTC_HandleTypeDef *hrtc, RTC_TimeTypeDef* time){

	uint8_t out = 0;
	if (HAL_RTC_SetTime(hrtc, time, RTC_FORMAT_BIN) != HAL_OK) {
		out = 1;
		Error_Handler();
	}
	return out;
}

uint8_t rtcGetTime(RTC_HandleTypeDef *hrtc, RTC_TimeTypeDef* time){
	uint8_t out = 0;
	if (HAL_RTC_GetTime(hrtc, time, RTC_FORMAT_BIN) != HAL_OK) {
		out = 1;
		Error_Handler();
	}
	return out;
}

void displayPrzeliczCzas(void){

	cyfra_1 = getTime.Hours/10;
	if (cyfra_1 == 0) cyfra_1 = NIC;
	cyfra_2 = getTime.Hours%10;
	cyfra_3 = getTime.Minutes/10;
	cyfra_4 = getTime.Minutes%10;

	//przekazanie do struktury wyswietlacza
	wyswietlaCyfrySet.cyfra_1 = cyfra_1;
	wyswietlaCyfrySet.cyfra_2 = cyfra_2;
	wyswietlaCyfrySet.cyfra_3 = cyfra_3;
	wyswietlaCyfrySet.cyfra_4 = cyfra_4;
	wyswietlaCyfrySet.cyfra_5 = cyfra_5;
	wyswietlaCyfrySet.cyfra_6 = cyfra_6;
	wyswietlaCyfrySet.cyfra_7 = cyfra_7;
	wyswietlaCyfrySet.cyfra_8 = cyfra_8;
	wyswietlaCyfrySet.cyfra_9 = cyfra_9;
	wyswietlaCyfrySet.cyfra_10 = cyfra_10;
	wyswietlaCyfrySet.cyfra_11 = cyfra_11;
	wyswietlaCyfrySet.cyfra_12 = cyfra_12;
	wyswietlaCyfrySet.kropka_1 = kropka_1;
	wyswietlaCyfrySet.kropka_2 = kropka_2;
	wyswietlaCyfrySet.kropka_3 = kropka_3;
	wyswietlaCyfrySet.kropka_4 = kropka_4;
	wyswietlaCyfrySet.kropka_5 = kropka_5;
	wyswietlaCyfrySet.kropka_6 = kropka_6;
	wyswietlaCyfrySet.kropka_7 = kropka_7;
	wyswietlaCyfrySet.kropka_8 = kropka_8;
	wyswietlaCyfrySet.kropka_9 = kropka_9;
	wyswietlaCyfrySet.kropka_10 = kropka_10;
	wyswietlaCyfrySet.kropka_11 = kropka_11;
	wyswietlaCyfrySet.kropka_12 = kropka_12;
}

void przyciskiRtc(void){
	static uint8_t wcisnietyPlusFlaga = 0;
	static uint8_t wcisnietyMinusFlaga = 0;

	//plus
	if (!HAL_GPIO_ReadPin( PPLUS_GPIO_Port, PPLUS_Pin)) {
		osDelay(30);
		if (!HAL_GPIO_ReadPin( PPLUS_GPIO_Port, PPLUS_Pin)) {
			wcisnietyMinusFlaga = 0;

			if(!wcisnietyPlusFlaga) rtcTimer1Sec = 255;

			if (!rtcGetTime(&hrtc, &setTime)) {
				++setTime.Minutes;
				if( rtcTimer1Sec <254 ){
					uint8_t minutyTmp = ( ( setTime.Minutes / 10 ) +1) * 10;
					setTime.Minutes = minutyTmp;
					if (rtcTimer1Sec > 244) osDelay(200);
				}
				if (setTime.Minutes > 59) {
					setTime.Minutes = 0;
					++setTime.Hours;
					if(setTime.Hours >23){
						setTime.Hours = 0;
					}
				}
				setTime.Seconds = 0;
				rtcSetTime(&hrtc, &setTime);
				rtcGetTime(&hrtc, &getTime);
			}
			displayPrzeliczCzas();
			osDelay(90);
			wcisnietyPlusFlaga = 1;
		}
	}
	//minus
	else if (!HAL_GPIO_ReadPin( PMIN_GPIO_Port, PMIN_Pin)) {
		osDelay(30);
		if (!HAL_GPIO_ReadPin( PMIN_GPIO_Port, PMIN_Pin)) {
			wcisnietyPlusFlaga = 0;

			if (!wcisnietyMinusFlaga)
				rtcTimer1Sec = 255;

			if (!rtcGetTime(&hrtc, &setTime)) {
				if (rtcTimer1Sec < 254) {
					uint8_t minutyTmp = ((setTime.Minutes / 10) - 1) * 10;
					setTime.Minutes = minutyTmp;
					if (rtcTimer1Sec > 244) osDelay(200);
				}else{
					--setTime.Minutes;
				}
				if (setTime.Minutes > 59) {
					setTime.Minutes = 59;
					--setTime.Hours;
					if (setTime.Hours > 23) {
						setTime.Hours = 23;
					}
				}
				setTime.Seconds = 0;
				rtcSetTime(&hrtc, &setTime);
				rtcGetTime(&hrtc, &getTime);
			}
			displayPrzeliczCzas();
			osDelay(90);
			wcisnietyMinusFlaga = 1;
		}
	}else if (rtcTimer1Sec) {
		wcisnietyPlusFlaga = 0;
		wcisnietyMinusFlaga = 0;
		rtcTimer1Sec = 0;
	} else {
		osDelay(20);
	}
}

void eepromStart(void){

	HAL_FLASH_Unlock();
	EE_Init();

	uint8_t i;
	for(i=0;i<NB_OF_VAR; ++i) {
		EE_ReadVariable(VirtAddVarTab[i], &eepromVarDataTab[i]);
	}
	eeIloscOdpalen = eepromVarDataTab[0];

	//licznik powerup
	++eeIloscOdpalen;
	eepromWrite(VirtAddVarTab[0], eeIloscOdpalen);

	HAL_FLASH_Lock();
}
void eepromWrite(uint16_t adr, uint16_t value){
	HAL_FLASH_Unlock();
	EE_WriteVariable(adr, value);
	HAL_FLASH_Lock();
}
void eepromRead(uint16_t adr, uint16_t* value){
	HAL_FLASH_Unlock();
	EE_ReadVariable(adr, value);
	HAL_FLASH_Lock();
}

/* USER CODE END Application */

/************************ (C) COPYRIGHT STMicroelectronics *****END OF FILE****/
